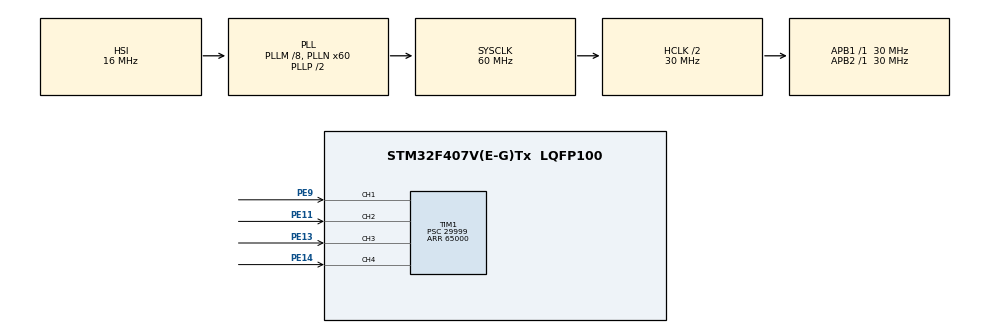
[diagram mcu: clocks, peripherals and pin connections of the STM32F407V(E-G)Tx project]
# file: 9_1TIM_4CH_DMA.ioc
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Dma.Request0=TIM1_CH1
Dma.Request1=TIM1_CH2
Dma.Request2=TIM1_CH3
Dma.Request3=TIM1_CH4/TRIG/COM
Dma.TIM1_CH1.0.Direction=DMA_PERIPH_TO_MEMORY
Dma.TIM1_CH1.0.FIFOMode=DMA_FIFOMODE_DISABLE
Dma.TIM1_CH1.0.Instance=DMA2_Stream1
Dma.TIM1_CH1.0.MemDataAlignment=DMA_MDATAALIGN_WORD
Dma.TIM1_CH1.0.MemInc=DMA_MINC_ENABLE
Dma.TIM1_CH1.0.Mode=DMA_CIRCULAR
Dma.TIM1_CH1.0.PeriphDataAlignment=DMA_PDATAALIGN_WORD
Dma.TIM1_CH1.0.PeriphInc=DMA_PINC_DISABLE
Dma.TIM1_CH1.0.Priority=DMA_PRIORITY_LOW
Dma.TIM1_CH2.1.Direction=DMA_PERIPH_TO_MEMORY
Dma.TIM1_CH2.1.FIFOMode=DMA_FIFOMODE_DISABLE
Dma.TIM1_CH2.1.Instance=DMA2_Stream2
Dma.TIM1_CH2.1.MemDataAlignment=DMA_MDATAALIGN_WORD
Dma.TIM1_CH2.1.MemInc=DMA_MINC_ENABLE
Dma.TIM1_CH2.1.Mode=DMA_CIRCULAR
Dma.TIM1_CH2.1.PeriphDataAlignment=DMA_PDATAALIGN_WORD
Dma.TIM1_CH2.1.PeriphInc=DMA_PINC_DISABLE
Dma.TIM1_CH2.1.Priority=DMA_PRIORITY_LOW
Dma.TIM1_CH3.2.Direction=DMA_PERIPH_TO_MEMORY
Dma.TIM1_CH3.2.FIFOMode=DMA_FIFOMODE_DISABLE
Dma.TIM1_CH3.2.Instance=DMA2_Stream6
Dma.TIM1_CH3.2.MemDataAlignment=DMA_MDATAALIGN_WORD
Dma.TIM1_CH3.2.MemInc=DMA_MINC_ENABLE
Dma.TIM1_CH3.2.Mode=DMA_CIRCULAR
Dma.TIM1_CH3.2.PeriphDataAlignment=DMA_PDATAALIGN_WORD
Dma.TIM1_CH3.2.PeriphInc=DMA_PINC_DISABLE
Dma.TIM1_CH3.2.Priority=DMA_PRIORITY_LOW
Dma.TIM1_CH4/TRIG/COM.3.Direction=DMA_PERIPH_TO_MEMORY
Dma.TIM1_CH4/TRIG/COM.3.FIFOMode=DMA_FIFOMODE_DISABLE
Dma.TIM1_CH4/TRIG/COM.3.Instance=DMA2_Stream4
Dma.TIM1_CH4/TRIG/COM.3.MemDataAlignment=DMA_MDATAALIGN_WORD
Dma.TIM1_CH4/TRIG/COM.3.MemInc=DMA_MINC_ENABLE
Dma.TIM1_CH4/TRIG/COM.3.Mode=DMA_CIRCULAR
Dma.TIM1_CH4/TRIG/COM.3.PeriphDataAlignment=DMA_PDATAALIGN_WORD
Dma.TIM1_CH4/TRIG/COM.3.PeriphInc=DMA_PINC_DISABLE
Dma.TIM1_CH4/TRIG/COM.3.Priority=DMA_PRIORITY_LOW
Mcu.Family=STM32F4
Mcu.Name=STM32F407V(E-G)Tx
Mcu.Package=LQFP100
NVIC.DMA2_Stream1_IRQn=true\:0\:0\:false\:false\:true\:false
NVIC.DMA2_Stream2_IRQn=true\:0\:0\:false\:false\:true\:false
NVIC.DMA2_Stream4_IRQn=true\:0\:0\:false\:false\:true\:false
NVIC.DMA2_Stream6_IRQn=true\:0\:0\:false\:false\:true\:false
NVIC.PriorityGroup=NVIC_PRIORITYGROUP_4
PA13.Mode=Serial_Wire
PA13.Signal=SYS_JTMS-SWDIO
PA14.Mode=Serial_Wire
PA14.Signal=SYS_JTCK-SWCLK
PE11.Signal=S_TIM1_CH2
PE13.Signal=S_TIM1_CH3
PE14.Signal=S_TIM1_CH4
PE9.Signal=S_TIM1_CH1
ProjectManager.HeapSize=0x200
ProjectManager.StackSize=0x400
ProjectManager.TargetToolchain=MDK-ARM V5
RCC.48MHZClocksFreq_Value=30000000
RCC.AHBCLKDivider=RCC_SYSCLK_DIV2
RCC.AHBFreq_Value=30000000
RCC.APB1Freq_Value=30000000
RCC.APB1TimFreq_Value=30000000
RCC.APB2Freq_Value=30000000
RCC.APB2TimFreq_Value=30000000
RCC.CortexFreq_Value=30000000
RCC.HCLKFreq_Value=30000000
RCC.HSE_VALUE=25000000
RCC.HSI_VALUE=16000000
RCC.LSE_VALUE=32768
RCC.PLLM=8
RCC.PLLN=60
RCC.SYSCLKFreq_VALUE=60000000
RCC.SYSCLKSource=RCC_SYSCLKSOURCE_PLLCLK
RCC.VCOOutputFreq_Value=120000000
SH.S_TIM1_CH1.0=TIM1_CH1,Input_Capture1_from_TI1
SH.S_TIM1_CH2.0=TIM1_CH2,Input_Capture2_from_TI2
SH.S_TIM1_CH3.0=TIM1_CH3,Input_Capture3_from_TI3
SH.S_TIM1_CH4.0=TIM1_CH4,Input_Capture4_from_TI4
TIM1.Channel-Input_Capture1_from_TI1=TIM_CHANNEL_1
TIM1.Channel-Input_Capture2_from_TI2=TIM_CHANNEL_2
TIM1.Channel-Input_Capture3_from_TI3=TIM_CHANNEL_3
TIM1.Channel-Input_Capture4_from_TI4=TIM_CHANNEL_4
TIM1.ICFilter_CH1=15
TIM1.ICFilter_CH2=15
TIM1.ICFilter_CH3=15
TIM1.ICFilter_CH4=15
TIM1.Period=65000
TIM1.Prescaler=29999
VP_TIM1_VS_ClockSourceINT.Mode=Internal
board=9_1TIM_4CH_DMA

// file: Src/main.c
/**
  ******************************************************************************
  * File Name          : main.c
  * Description        : Main program body
  ******************************************************************************
  ** This notice applies to any and all portions of this file
  * that are not between comment pairs USER CODE BEGIN and
  * USER CODE END. Other portions of this file, whether
  * inserted by the user or by software development tools
  * are owned by their respective copyright owners.
  *
  * COPYRIGHT(c) 2018 STMicroelectronics
  *
  * Redistribution and use in source and binary forms, with or without modification,
  * are permitted provided that the following conditions are met:
  *   1. Redistributions of source code must retain the above copyright notice,
  *      this list of conditions and the following disclaimer.
  *   2. Redistributions in binary form must reproduce the above copyright notice,
  *      this list of conditions and the following disclaimer in the documentation
  *      and/or other materials provided with the distribution.
  *   3. Neither the name of STMicroelectronics nor the names of its contributors
  *      may be used to endorse or promote products derived from this software
  *      without specific prior written permission.
  *
  * THIS SOFTWARE IS PROVIDED BY THE COPYRIGHT HOLDERS AND CONTRIBUTORS "AS IS"
  * AND ANY EXPRESS OR IMPLIED WARRANTIES, INCLUDING, BUT NOT LIMITED TO, THE
  * IMPLIED WARRANTIES OF MERCHANTABILITY AND FITNESS FOR A PARTICULAR PURPOSE ARE
  * DISCLAIMED. IN NO EVENT SHALL THE COPYRIGHT HOLDER OR CONTRIBUTORS BE LIABLE
  * FOR ANY DIRECT, INDIRECT, INCIDENTAL, SPECIAL, EXEMPLARY, OR CONSEQUENTIAL
  * DAMAGES (INCLUDING, BUT NOT LIMITED TO, PROCUREMENT OF SUBSTITUTE GOODS OR
  * SERVICES; LOSS OF USE, DATA, OR PROFITS; OR BUSINESS INTERRUPTION) HOWEVER
  * CAUSED AND ON ANY THEORY OF LIABILITY, WHETHER IN CONTRACT, STRICT LIABILITY,
  * OR TORT (INCLUDING NEGLIGENCE OR OTHERWISE) ARISING IN ANY WAY OUT OF THE USE
  * OF THIS SOFTWARE, EVEN IF ADVISED OF THE POSSIBILITY OF SUCH DAMAGE.
  *
  ******************************************************************************
  */
#include "main.h"
#include "stm32f4xx_hal.h"

/* USER CODE BEGIN Includes */
 uint32_t counter=0,i=0;
 uint32_t val1_dma[1],val2_dma[1],val3_dma[1],val4_dma[1];
 // her bir kanala 1 degisken yazdik..
/* USER CODE END Includes */

TIM_HandleTypeDef htim1;
DMA_HandleTypeDef hdma_tim1_ch1;
DMA_HandleTypeDef hdma_tim1_ch2;
DMA_HandleTypeDef hdma_tim1_ch3;
DMA_HandleTypeDef hdma_tim1_ch4_trig_com;

/* USER CODE BEGIN PV */
/* Private variables ---------------------------------------------------------*/

/* USER CODE END PV */

void SystemClock_Config(void);
static void MX_GPIO_Init(void);
static void MX_DMA_Init(void);
static void MX_TIM1_Init(void);

/* USER CODE BEGIN PFP */
/* Private function prototypes -----------------------------------------------*/

// TIM KÜTÜPHANESINE GIT CALLBACK I BUL...
void HAL_TIM_IC_CaptureCallback(TIM_HandleTypeDef *htim)
{

  if(htim->Instance==TIM1)
	{
		// capture oldugu zaman yeni degeri yakalamak için
    //		counter 0 dan baslatilmasi lazim.

		__HAL_TIM_SetCounter(&htim1,0);
		 i++;
		// tarama yöntemi yapilacak
		// her kanal 15 kez okunacak ve diger kanala geçilecek.
		// tek sayici oldugu için böyle yapmak zorundayiz.....

			if(i==15)
			{
				//1. kanaldayiz islemi yap 2 ye yolla
				HAL_TIM_IC_Stop_DMA(&htim1,TIM_CHANNEL_1);
				HAL_TIM_IC_Start_DMA(&htim1,TIM_CHANNEL_2,(uint32_t*)val2_dma,1);

			}
				if(i==30)
			{//2. kanaldayiz islemi yap 3 e yolla
				HAL_TIM_IC_Stop_DMA(&htim1,TIM_CHANNEL_2);
				HAL_TIM_IC_Start_DMA(&htim1,TIM_CHANNEL_3,(uint32_t*)val3_dma,1);

			}
			if(i==45)
			{//3. kanaldayiz islemi yap 4 e yolla
			  HAL_TIM_IC_Stop_DMA(&htim1,TIM_CHANNEL_3);
				HAL_TIM_IC_Start_DMA(&htim1,TIM_CHANNEL_4,(uint32_t*)val4_dma,1);

			}
		if(i==60)
			{//4. kanaldayiz islemi yap 1 e yolla
				i=0;
			  HAL_TIM_IC_Stop_DMA(&htim1,TIM_CHANNEL_4);
				HAL_TIM_IC_Start_DMA(&htim1,TIM_CHANNEL_1,(uint32_t*)val1_dma,1);

			}

	}

}

/* USER CODE END PFP */

int main(void)
{

  /* MCU Configuration----------------------------------------------------------*/

  /* Reset of all peripherals, Initializes the Flash interface and the Systick. */
  HAL_Init();

  /* Configure the system clock */
  SystemClock_Config();

  /* Initialize all configured peripherals */
  MX_GPIO_Init();
  MX_DMA_Init();
  MX_TIM1_Init();

HAL_TIM_IC_Start_DMA(&htim1,TIM_CHANNEL_1,(uint32_t*)val1_dma,1);
// suan sadece 1. yi çalistirdik...
//burda farkli 1 metod kullanilmaktadir...

  /* Infinite loop */
  while (1)
  {
 counter= __HAL_TIM_GetCounter(&htim1);
  }

}

/** System Clock Configuration
*/
void SystemClock_Config(void)
{

  RCC_OscInitTypeDef RCC_OscInitStruct;
  RCC_ClkInitTypeDef RCC_ClkInitStruct;

    /**Configure the main internal regulator output voltage
    */
  __HAL_RCC_PWR_CLK_ENABLE();

  __HAL_PWR_VOLTAGESCALING_CONFIG(PWR_REGULATOR_VOLTAGE_SCALE1);

    /**Initializes the CPU, AHB and APB busses clocks
    */
  RCC_OscInitStruct.OscillatorType = RCC_OSCILLATORTYPE_HSI;
  RCC_OscInitStruct.HSIState = RCC_HSI_ON;
  RCC_OscInitStruct.HSICalibrationValue = 16;
  RCC_OscInitStruct.PLL.PLLState = RCC_PLL_ON;
  RCC_OscInitStruct.PLL.PLLSource = RCC_PLLSOURCE_HSI;
  RCC_OscInitStruct.PLL.PLLM = 8;
  RCC_OscInitStruct.PLL.PLLN = 60;
  RCC_OscInitStruct.PLL.PLLP = RCC_PLLP_DIV2;
  RCC_OscInitStruct.PLL.PLLQ = 4;
  if (HAL_RCC_OscConfig(&RCC_OscInitStruct) != HAL_OK)
  {
    _Error_Handler(__FILE__, __LINE__);
  }

    /**Initializes the CPU, AHB and APB busses clocks
    */
  RCC_ClkInitStruct.ClockType = RCC_CLOCKTYPE_HCLK|RCC_CLOCKTYPE_SYSCLK
                              |RCC_CLOCKTYPE_PCLK1|RCC_CLOCKTYPE_PCLK2;
  RCC_ClkInitStruct.SYSCLKSource = RCC_SYSCLKSOURCE_PLLCLK;
  RCC_ClkInitStruct.AHBCLKDivider = RCC_SYSCLK_DIV2;
  RCC_ClkInitStruct.APB1CLKDivider = RCC_HCLK_DIV1;
  RCC_ClkInitStruct.APB2CLKDivider = RCC_HCLK_DIV1;

  if (HAL_RCC_ClockConfig(&RCC_ClkInitStruct, FLASH_LATENCY_0) != HAL_OK)
  {
    _Error_Handler(__FILE__, __LINE__);
  }

    /**Configure the Systick interrupt time
    */
  HAL_SYSTICK_Config(HAL_RCC_GetHCLKFreq()/1000);

    /**Configure the Systick
    */
  HAL_SYSTICK_CLKSourceConfig(SYSTICK_CLKSOURCE_HCLK);

  /* SysTick_IRQn interrupt configuration */
  HAL_NVIC_SetPriority(SysTick_IRQn, 0, 0);
}

/* TIM1 init function */
static void MX_TIM1_Init(void)
{

  TIM_ClockConfigTypeDef sClockSourceConfig;
  TIM_MasterConfigTypeDef sMasterConfig;
  TIM_IC_InitTypeDef sConfigIC;

  htim1.Instance = TIM1;
  htim1.Init.Prescaler = 29999;
  htim1.Init.CounterMode = TIM_COUNTERMODE_UP;
  htim1.Init.Period = 65000;
  htim1.Init.ClockDivision = TIM_CLOCKDIVISION_DIV1;
  htim1.Init.RepetitionCounter = 0;
  if (HAL_TIM_Base_Init(&htim1) != HAL_OK)
  {
    _Error_Handler(__FILE__, __LINE__);
  }

  sClockSourceConfig.ClockSource = TIM_CLOCKSOURCE_INTERNAL;
  if (HAL_TIM_ConfigClockSource(&htim1, &sClockSourceConfig) != HAL_OK)
  {
    _Error_Handler(__FILE__, __LINE__);
  }

  if (HAL_TIM_IC_Init(&htim1) != HAL_OK)
  {
    _Error_Handler(__FILE__, __LINE__);
  }

  sMasterConfig.MasterOutputTrigger = TIM_TRGO_RESET;
  sMasterConfig.MasterSlaveMode = TIM_MASTERSLAVEMODE_DISABLE;
  if (HAL_TIMEx_MasterConfigSynchronization(&htim1, &sMasterConfig) != HAL_OK)
  {
    _Error_Handler(__FILE__, __LINE__);
  }

  sConfigIC.ICPolarity = TIM_INPUTCHANNELPOLARITY_RISING;
  sConfigIC.ICSelection = TIM_ICSELECTION_DIRECTTI;
  sConfigIC.ICPrescaler = TIM_ICPSC_DIV1;
  sConfigIC.ICFilter = 15;
  if (HAL_TIM_IC_ConfigChannel(&htim1, &sConfigIC, TIM_CHANNEL_1) != HAL_OK)
  {
    _Error_Handler(__FILE__, __LINE__);
  }

  if (HAL_TIM_IC_ConfigChannel(&htim1, &sConfigIC, TIM_CHANNEL_2) != HAL_OK)
  {
    _Error_Handler(__FILE__, __LINE__);
  }

  if (HAL_TIM_IC_ConfigChannel(&htim1, &sConfigIC, TIM_CHANNEL_3) != HAL_OK)
  {
    _Error_Handler(__FILE__, __LINE__);
  }

  if (HAL_TIM_IC_ConfigChannel(&htim1, &sConfigIC, TIM_CHANNEL_4) != HAL_OK)
  {
    _Error_Handler(__FILE__, __LINE__);
  }

}

static void MX_DMA_Init(void)
{
  /* DMA controller clock enable */
  __HAL_RCC_DMA2_CLK_ENABLE();

  /* DMA interrupt init */
  /* DMA2_Stream1_IRQn interrupt configuration */
  HAL_NVIC_SetPriority(DMA2_Stream1_IRQn, 0, 0);
  HAL_NVIC_EnableIRQ(DMA2_Stream1_IRQn);
  /* DMA2_Stream2_IRQn interrupt configuration */
  HAL_NVIC_SetPriority(DMA2_Stream2_IRQn, 0, 0);
  HAL_NVIC_EnableIRQ(DMA2_Stream2_IRQn);
  /* DMA2_Stream4_IRQn interrupt configuration */
  HAL_NVIC_SetPriority(DMA2_Stream4_IRQn, 0, 0);
  HAL_NVIC_EnableIRQ(DMA2_Stream4_IRQn);
  /* DMA2_Stream6_IRQn interrupt configuration */
  HAL_NVIC_SetPriority(DMA2_Stream6_IRQn, 0, 0);
  HAL_NVIC_EnableIRQ(DMA2_Stream6_IRQn);

}

/** Configure pins as
        * Analog
        * Input
        * Output
        * EVENT_OUT
        * EXTI
*/
static void MX_GPIO_Init(void)
{

  /* GPIO Ports Clock Enable */
  __HAL_RCC_GPIOE_CLK_ENABLE();
  __HAL_RCC_GPIOA_CLK_ENABLE();

}

void _Error_Handler(char * file, int line)
{
  while(1)
  {
  }
}

/************************ (C) COPYRIGHT STMicroelectronics *****END OF FILE****/
